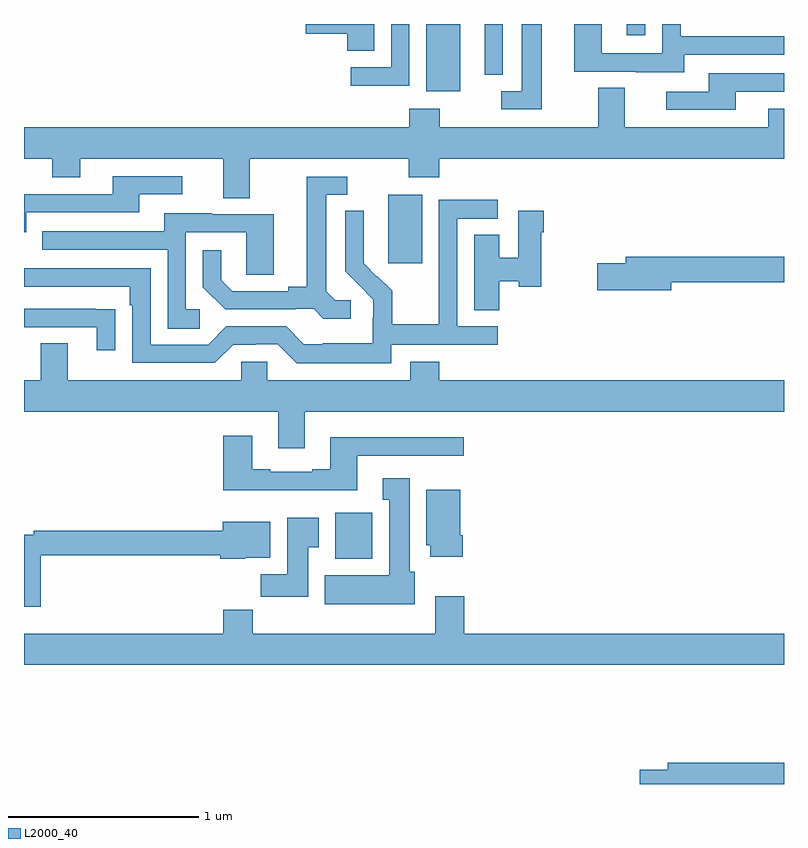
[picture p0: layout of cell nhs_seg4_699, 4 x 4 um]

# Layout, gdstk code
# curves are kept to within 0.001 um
import gdstk
lib = gdstk.Library(unit=1e-6, precision=1e-09)
def R(c, l, rs):  # rectangles x0, y0, x1, y1
    for r in rs: c.add(gdstk.rectangle(r[:2], r[2:], *l))
def P(c, l, *ps):  # polygons
    for p in ps: c.add(gdstk.Polygon(p, *l))
L2000_40 = (2000, 40)

nhs_seg4_699 = lib.new_cell('nhs_seg4_699')
R(nhs_seg4_699, L2000_40, [(148.637,756.086,148.834,756.328), (148.916,757.641,149.095,758.002), (149.117,758.546,149.296,758.9), (150.173,758.841,150.27,758.9)])
P(nhs_seg4_699, L2000_40, [(150.475,758.739),(151,758.739),(151,758.835),(150.456,758.835),(150.456,758.9),(150.36,758.9),(150.36,758.745),(150.042,758.745),(150.042,758.9),(149.897,758.9),(149.897,758.649),(150.221,758.649),(150.221,758.645),(150.475,758.645)],
  [(148.843,758.9),(148.482,758.9),(148.482,758.849),(148.7,758.849),(148.7,758.758),(148.843,758.758)],
  [(149.725,758.9),(149.621,758.9),(149.621,758.547),(149.511,758.547),(149.511,758.451),(149.725,758.451)],
  [(149.028,758.9),(148.932,758.9),(148.932,758.673),(148.719,758.673),(148.719,758.575),(149.028,758.575)],
  [(149.52,758.9),(149.426,758.9),(149.426,758.786),(149.424,758.786),(149.424,758.632),(149.52,758.632)],
  [(150.745,758.544),(151,758.544),(151,758.64),(150.605,758.64),(150.605,758.544),(150.381,758.544),(150.381,758.448),(150.745,758.448)],
  [(147,758.192),(147.148,758.192),(147.148,758.093),(147.295,758.093),(147.295,758.192),(148.049,758.192),(148.049,757.984),(148.189,757.984),(148.189,758.192),(149.026,758.192),(149.026,758.093),(149.186,758.093),(149.186,758.192),(151,758.192),(151,758.455),(150.917,758.455),(150.917,758.356),(150.163,758.356),(150.163,758.564),(150.023,758.564),(150.023,758.356),(149.187,758.356),(149.187,758.455),(149.027,758.455),(149.027,758.356),(147,758.356)],
  [(147.012,757.908),(147.607,757.908),(147.607,758.004),(147.832,758.004),(147.832,758.1),(147.467,758.1),(147.467,758.004),(147,758.004),(147,757.805),(147.012,757.805)],
  [(148.72,757.446),(148.638,757.446),(148.591,757.493),(148.591,758.001),(148.702,758.001),(148.702,758.097),(148.487,758.097),(148.487,757.517),(148.391,757.517),(148.391,757.494),(148.096,757.494),(148.039,757.551),(148.039,757.708),(147.942,757.708),(147.942,757.514),(148.058,757.398),(148.43,757.398),(148.43,757.401),(148.524,757.401),(148.576,757.349),(148.72,757.349)],
  [(148.932,757.212),(149.494,757.212),(149.494,757.308),(149.28,757.308),(149.28,757.875),(149.494,757.875),(149.494,757.974),(149.184,757.974),(149.184,757.544),(149.182,757.544),(149.182,757.321),(148.937,757.321),(148.937,757.495),(148.86,757.572),(148.857,757.569),(148.787,757.64),(148.788,757.916),(148.692,757.916),(148.692,757.598),(148.838,757.45),(148.838,757.353),(148.836,757.353),(148.836,757.219),(148.573,757.219),(148.573,757.215),(148.473,757.215),(148.38,757.308),(148.065,757.308),(147.969,757.212),(147.666,757.212),(147.666,757.614),(147,757.614),(147,757.518),(147.557,757.518),(147.557,757.421),(147.57,757.421),(147.57,757.116),(148.005,757.116),(148.101,757.212),(148.22,757.212),(148.22,757.215),(148.335,757.215),(148.435,757.115),(148.932,757.115)],
  [(149.5,757.547),(149.604,757.547),(149.604,757.517),(149.722,757.517),(149.722,757.805),(149.735,757.805),(149.735,757.918),(149.6,757.918),(149.6,757.669),(149.5,757.669),(149.5,757.79),(149.369,757.79),(149.369,757.393),(149.5,757.393)],
  [(147.925,757.398),(147.852,757.398),(147.852,757.803),(148.17,757.803),(148.17,757.579),(148.315,757.579),(148.315,757.899),(147.991,757.899),(147.991,757.903),(147.737,757.903),(147.737,757.809),(147.097,757.809),(147.097,757.713),(147.756,757.713),(147.756,757.297),(147.925,757.297)],
  [(150.406,757.54),(151,757.54),(151,757.676),(150.167,757.676),(150.167,757.64),(150.018,757.64),(150.018,757.498),(150.406,757.498)],
  [(147.479,757.4),(147.377,757.4),(147.377,757.401),(147,757.401),(147,757.305),(147.383,757.305),(147.383,757.182),(147.479,757.182)],
  [(148.477,756.86),(151,756.86),(151,757.024),(149.186,757.024),(149.186,757.123),(149.033,757.123),(149.033,757.024),(148.281,757.024),(148.281,757.122),(148.143,757.122),(148.143,757.024),(147.229,757.024),(147.229,757.219),(147.089,757.219),(147.089,757.024),(147,757.024),(147,756.86),(148.337,756.86),(148.337,756.666),(148.477,756.666)],
  [(148.753,756.627),(149.314,756.627),(149.314,756.724),(148.613,756.724),(148.613,756.556),(148.517,756.556),(148.517,756.543),(148.297,756.543),(148.297,756.556),(148.201,756.556),(148.201,756.733),(148.049,756.733),(148.049,756.446),(148.753,756.446)],
  [(149.056,756.018),(149.029,756.018),(149.029,756.508),(148.889,756.508),(148.889,756.395),(148.922,756.395),(148.922,755.998),(148.583,755.998),(148.583,755.846),(149.056,755.846)],
  [(149.309,756.208),(149.296,756.208),(149.296,756.448),(149.117,756.448),(149.117,756.156),(149.138,756.156),(149.138,756.096),(149.309,756.096)],
  [(148.495,756.145),(148.552,756.145),(148.552,756.301),(148.385,756.301),(148.385,756.004),(148.246,756.004),(148.246,755.886),(148.495,755.886)],
  [(147.089,756.105),(148.034,756.105),(148.034,756.086),(148.164,756.086),(148.164,756.092),(148.297,756.092),(148.297,756.28),(148.046,756.28),(148.046,756.233),(147.052,756.233),(147.052,756.213),(147,756.213),(147,755.832),(147.089,755.832)],
  [(151,755.692),(149.318,755.692),(149.318,755.887),(149.165,755.887),(149.165,755.692),(148.205,755.692),(148.205,755.816),(148.049,755.816),(148.049,755.692),(147,755.692),(147,755.528),(151,755.528)],
  [(151,755.012),(150.389,755.012),(150.389,754.976),(150.24,754.976),(150.24,754.9),(151,754.9)])

lib.write_gds('nhs_seg4_699.gds')
